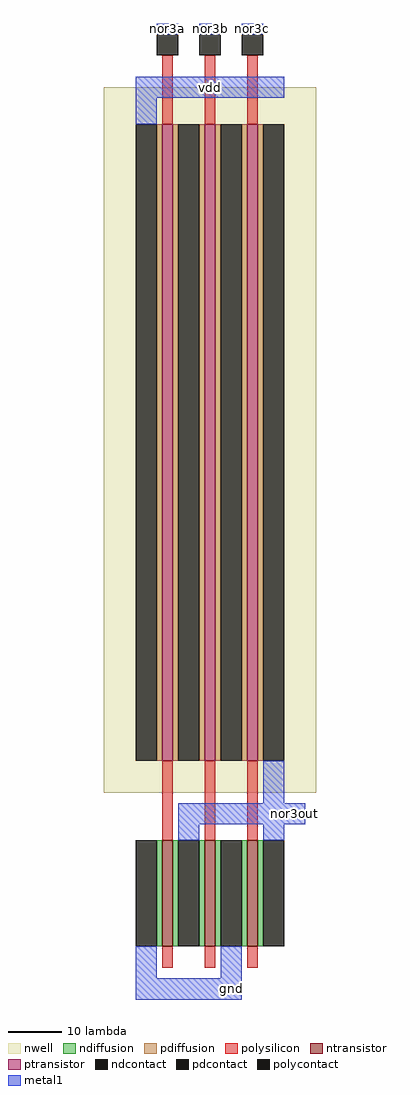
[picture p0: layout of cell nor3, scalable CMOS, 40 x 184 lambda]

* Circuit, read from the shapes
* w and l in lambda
.subckt nor3 gnd nor3a nor3b nor3c nor3out vdd
M1 nor3out nor3a gnd VSUBS nfet w=20 l=2
M2 gnd nor3b nor3out VSUBS nfet w=20 l=2
M3 nor3out nor3c gnd VSUBS nfet w=20 l=2
M4 n1 nor3a vdd n2 pfet w=120 l=2
M5 n3 nor3b n1 n2 pfet w=120 l=2
M6 nor3out nor3c n3 n2 pfet w=120 l=2
.ends

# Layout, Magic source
magic
tech scmos
<< nwell >>
rect 4 53 44 186
<< ntransistor >>
rect 15 24 17 44
rect 23 24 25 44
rect 31 24 33 44
<< ptransistor >>
rect 15 59 17 179
rect 23 59 25 179
rect 31 59 33 179
<< ndiffusion >>
rect 14 24 15 44
rect 17 24 18 44
rect 22 24 23 44
rect 25 24 26 44
rect 30 24 31 44
rect 33 24 34 44
<< pdiffusion >>
rect 14 59 15 179
rect 17 59 18 179
rect 22 59 23 179
rect 25 59 26 179
rect 30 59 31 179
rect 33 59 34 179
<< ndcontact >>
rect 10 24 14 44
rect 18 24 22 44
rect 26 24 30 44
rect 34 24 38 44
<< pdcontact >>
rect 10 59 14 179
rect 18 59 22 179
rect 26 59 30 179
rect 34 59 38 179
<< polysilicon >>
rect 15 179 17 192
rect 23 179 25 192
rect 31 179 33 192
rect 15 44 17 59
rect 23 44 25 59
rect 31 44 33 59
rect 15 20 17 24
rect 23 20 25 24
rect 31 20 33 24
<< polycontact >>
rect 14 192 18 196
rect 22 192 26 196
rect 30 192 34 196
<< metal1 >>
rect 14 196 18 198
rect 22 196 26 198
rect 30 196 34 198
rect 10 184 38 188
rect 10 179 14 184
rect 34 51 38 59
rect 18 47 42 51
rect 18 44 22 47
rect 34 44 38 47
rect 10 18 14 24
rect 26 18 30 24
rect 10 14 30 18
<< labels >>
rlabel metal1 26 14 30 18 1 gnd
rlabel metal1 38 47 42 51 7 nor3out
rlabel metal1 10 184 38 188 1 vdd
rlabel metal1 14 196 18 198 5 nor3a
rlabel metal1 22 196 26 198 5 nor3b
rlabel metal1 30 196 34 198 5 nor3c
<< end >>
